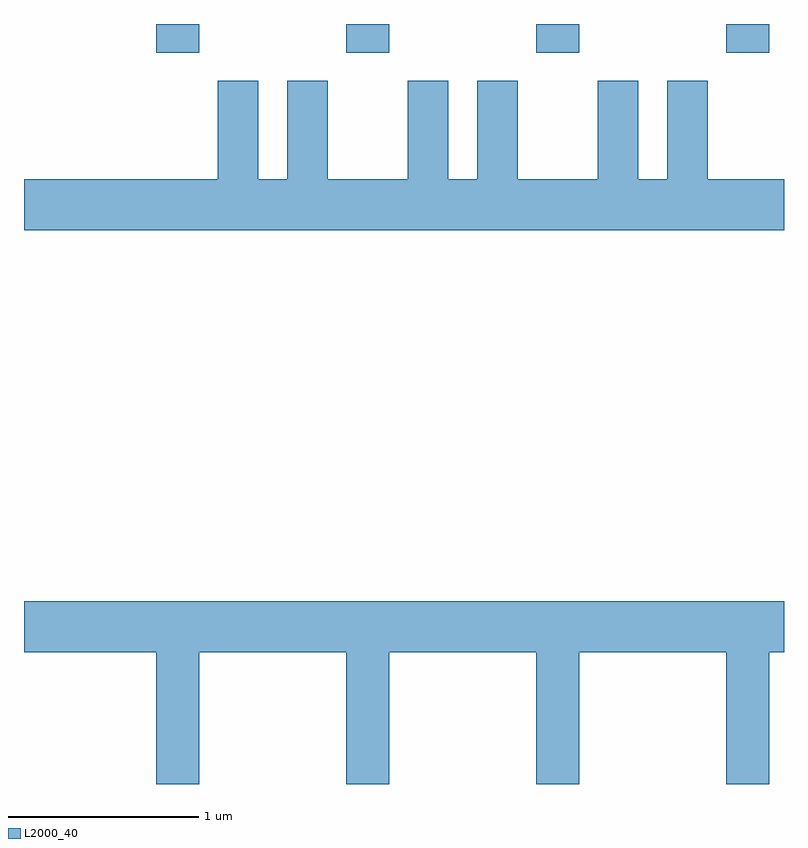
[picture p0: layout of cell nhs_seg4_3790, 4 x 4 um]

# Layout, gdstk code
import gdstk
lib = gdstk.Library(unit=1e-6, precision=1e-09)
def R(c, l, rs):  # rectangles x0, y0, x1, y1
    for r in rs: c.add(gdstk.rectangle(r[:2], r[2:], *l))
def A(c, l, x, y, w, h, nx, ny, dx, dy):  # array of equal rectangles
    R(c, l, [(x+i*dx, y+j*dy, x+i*dx+w, y+j*dy+h) for i in range(nx) for j in range(ny)])
def P(c, l, *ps):  # polygons
    for p in ps: c.add(gdstk.Polygon(p, *l))
L2000_40 = (2000, 40)

nhs_seg4_3790 = lib.new_cell('nhs_seg4_3790')
A(nhs_seg4_3790, L2000_40, 296.306, 1357.831, 0.228, 0.151, 4, 1, 1, 0)
P(nhs_seg4_3790, L2000_40, [(299.611,1357.164),(299.209,1357.164),(299.209,1357.684),(298.996,1357.684),(298.996,1357.164),(298.844,1357.164),(298.844,1357.684),(298.631,1357.684),(298.631,1357.164),(298.209,1357.164),(298.209,1357.684),(297.996,1357.684),(297.996,1357.164),(297.844,1357.164),(297.844,1357.684),(297.631,1357.684),(297.631,1357.164),(297.209,1357.164),(297.209,1357.684),(296.996,1357.684),(296.996,1357.164),(296.844,1357.164),(296.844,1357.684),(296.631,1357.684),(296.631,1357.164),(295.611,1357.164),(295.611,1356.896),(299.611,1356.896)],
  [(295.611,1354.676),(296.306,1354.676),(296.306,1353.982),(296.534,1353.982),(296.534,1354.676),(297.306,1354.676),(297.306,1353.982),(297.534,1353.982),(297.534,1354.676),(298.306,1354.676),(298.306,1353.982),(298.534,1353.982),(298.534,1354.676),(299.306,1354.676),(299.306,1353.982),(299.534,1353.982),(299.534,1354.676),(299.611,1354.676),(299.611,1354.944),(295.611,1354.944)])

lib.write_gds('nhs_seg4_3790.gds')
